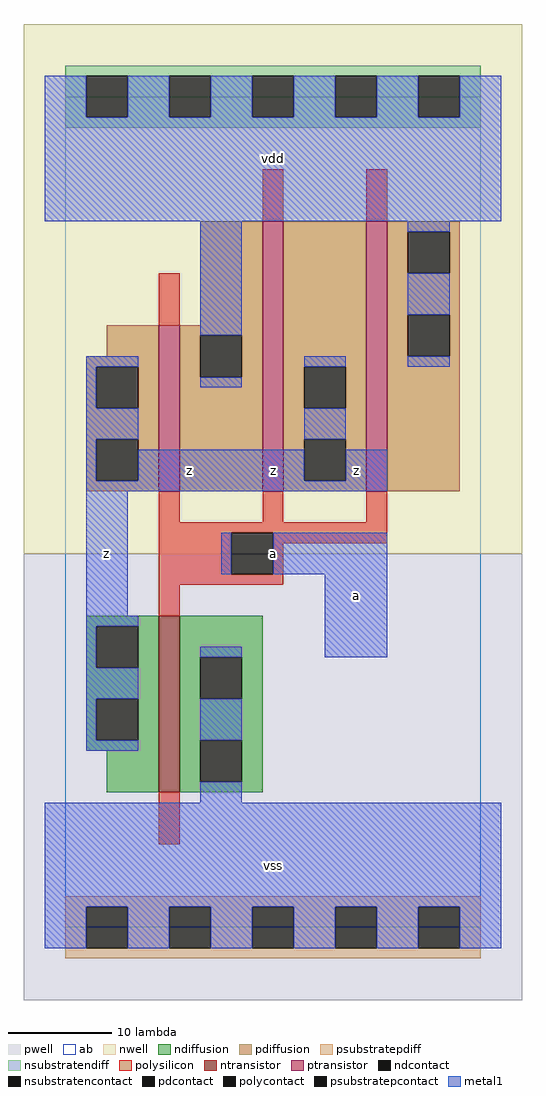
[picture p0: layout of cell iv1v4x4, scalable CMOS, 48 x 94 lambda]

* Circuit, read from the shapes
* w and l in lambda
.subckt iv1v4x4 a vdd vss z
M1 vss a z vss nfet w=17 l=2
M2 vdd a z vdd pfet w=16 l=2
M3 z a vdd vdd pfet w=26 l=2 m=2
.ends

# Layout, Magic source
magic
tech scmos
<< ab >>
rect 0 0 40 80
<< pwell >>
rect -4 -7 44 36
<< nwell >>
rect -4 36 44 87
<< polysilicon >>
rect 19 68 21 73
rect 29 68 31 73
rect 9 58 11 63
rect 9 39 11 42
rect 19 39 21 42
rect 29 39 31 42
rect 9 38 31 39
rect 9 34 16 38
rect 20 37 31 38
rect 20 34 21 37
rect 9 33 21 34
rect 9 30 11 33
rect 9 8 11 13
<< ndiffusion >>
rect 2 29 9 30
rect 2 25 3 29
rect 7 25 9 29
rect 2 22 9 25
rect 2 18 3 22
rect 7 18 9 22
rect 2 17 9 18
rect 4 13 9 17
rect 11 26 19 30
rect 11 22 13 26
rect 17 22 19 26
rect 11 18 19 22
rect 11 14 13 18
rect 17 14 19 18
rect 11 13 19 14
<< pdiffusion >>
rect 13 58 19 68
rect 4 55 9 58
rect 2 54 9 55
rect 2 50 3 54
rect 7 50 9 54
rect 2 47 9 50
rect 2 43 3 47
rect 7 43 9 47
rect 2 42 9 43
rect 11 57 19 58
rect 11 53 13 57
rect 17 53 19 57
rect 11 42 19 53
rect 21 54 29 68
rect 21 50 23 54
rect 27 50 29 54
rect 21 47 29 50
rect 21 43 23 47
rect 27 43 29 47
rect 21 42 29 43
rect 31 67 38 68
rect 31 63 33 67
rect 37 63 38 67
rect 31 59 38 63
rect 31 55 33 59
rect 37 55 38 59
rect 31 42 38 55
<< metal1 >>
rect -2 78 2 82
rect 6 78 10 82
rect 14 78 18 82
rect 22 78 26 82
rect 30 78 34 82
rect 38 78 42 82
rect -2 68 42 78
rect 13 57 17 68
rect 2 54 7 55
rect 2 50 3 54
rect 33 67 37 68
rect 33 59 37 63
rect 13 52 17 53
rect 23 54 27 55
rect 33 54 37 55
rect 2 47 7 50
rect 2 43 3 47
rect 23 47 27 50
rect 7 43 23 46
rect 27 43 31 46
rect 2 42 31 43
rect 2 30 6 42
rect 15 34 16 38
rect 20 34 31 38
rect 2 29 7 30
rect 2 25 3 29
rect 2 22 7 25
rect 2 18 3 22
rect 2 17 7 18
rect 13 26 17 27
rect 25 26 31 34
rect 13 18 17 22
rect 13 12 17 14
rect -2 2 42 12
rect -2 -2 2 2
rect 6 -2 10 2
rect 14 -2 18 2
rect 22 -2 26 2
rect 30 -2 34 2
rect 38 -2 42 2
<< ntransistor >>
rect 9 13 11 30
<< ptransistor >>
rect 9 42 11 58
rect 19 42 21 68
rect 29 42 31 68
<< polycontact >>
rect 16 34 20 38
<< ndcontact >>
rect 3 25 7 29
rect 3 18 7 22
rect 13 22 17 26
rect 13 14 17 18
<< pdcontact >>
rect 3 50 7 54
rect 3 43 7 47
rect 13 53 17 57
rect 23 50 27 54
rect 23 43 27 47
rect 33 63 37 67
rect 33 55 37 59
<< psubstratepcontact >>
rect 2 -2 6 2
rect 10 -2 14 2
rect 18 -2 22 2
rect 26 -2 30 2
rect 34 -2 38 2
<< nsubstratencontact >>
rect 2 78 6 82
rect 10 78 14 82
rect 18 78 22 82
rect 26 78 30 82
rect 34 78 38 82
<< psubstratepdiff >>
rect 0 2 40 3
rect 0 -2 2 2
rect 6 -2 10 2
rect 14 -2 18 2
rect 22 -2 26 2
rect 30 -2 34 2
rect 38 -2 40 2
rect 0 -3 40 -2
<< nsubstratendiff >>
rect 0 82 40 83
rect 0 78 2 82
rect 6 78 10 82
rect 14 78 18 82
rect 22 78 26 82
rect 30 78 34 82
rect 38 78 40 82
rect 0 77 40 78
<< labels >>
rlabel metal1 4 36 4 36 6 z
rlabel metal1 12 44 12 44 6 z
rlabel metal1 20 6 20 6 6 vss
rlabel metal1 20 36 20 36 6 a
rlabel metal1 28 32 28 32 6 a
rlabel metal1 28 44 28 44 6 z
rlabel metal1 20 44 20 44 6 z
rlabel metal1 20 74 20 74 6 vdd
<< end >>
